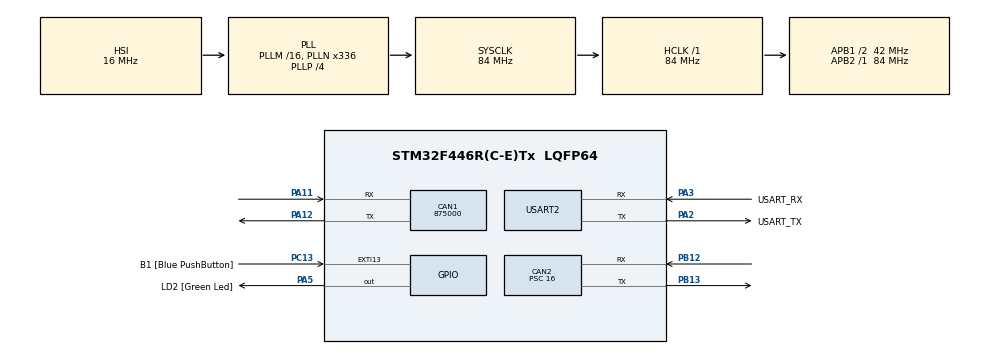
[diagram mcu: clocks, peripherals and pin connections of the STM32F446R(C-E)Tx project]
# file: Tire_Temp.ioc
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CAN1.CalculateBaudRate=875000
CAN1.CalculateTimeBit=1142
CAN1.CalculateTimeQuantum=380.95238095238096
CAN2.CalculateBaudRate=875000
CAN2.CalculateTimeBit=1142
CAN2.CalculateTimeQuantum=380.95238095238096
CAN2.Prescaler=16
Mcu.Family=STM32F4
Mcu.Name=STM32F446R(C-E)Tx
Mcu.Package=LQFP64
NVIC.CAN2_RX0_IRQn=true\:0\:0\:false\:false\:true\:true\:true\:true
NVIC.PriorityGroup=NVIC_PRIORITYGROUP_0
PA11.Mode=CAN_Activate
PA11.Signal=CAN1_RX
PA12.Mode=CAN_Activate
PA12.Signal=CAN1_TX
PA13.GPIO_Label=TMS
PA13.Mode=Serial_Wire
PA13.Signal=SYS_JTMS-SWDIO
PA14.GPIO_Label=TCK
PA14.Mode=Serial_Wire
PA14.Signal=SYS_JTCK-SWCLK
PA2.GPIO_Label=USART_TX
PA2.Mode=Asynchronous
PA2.Signal=USART2_TX
PA3.GPIO_Label=USART_RX
PA3.Mode=Asynchronous
PA3.Signal=USART2_RX
PA5.GPIO_Label=LD2 [Green Led]
PA5.Signal=GPIO_Output
PB12.Mode=CAN_Activate
PB12.Signal=CAN2_RX
PB13.Mode=CAN_Activate
PB13.Signal=CAN2_TX
PB3.GPIO_Label=SWO
PB3.Signal=SYS_JTDO-SWO
PC13.GPIO_Label=B1 [Blue PushButton]
PC13.GPIO_ModeDefaultEXTI=GPIO_MODE_IT_FALLING
PC13.Signal=GPXTI13
PC14-OSC32_IN.Mode=LSE-External-Oscillator
PC14-OSC32_IN.Signal=RCC_OSC32_IN
PC15-OSC32_OUT.Mode=LSE-External-Oscillator
PC15-OSC32_OUT.Signal=RCC_OSC32_OUT
PH0-OSC_IN.Mode=HSE-External-Oscillator
PH0-OSC_IN.Signal=RCC_OSC_IN
PH1-OSC_OUT.Mode=HSE-External-Oscillator
PH1-OSC_OUT.Signal=RCC_OSC_OUT
ProjectManager.HeapSize=0x200
ProjectManager.StackSize=0x400
ProjectManager.TargetToolchain=STM32CubeIDE
RCC.48MHZClocksFreq_Value=84000000
RCC.AHBFreq_Value=84000000
RCC.APB1CLKDivider=RCC_HCLK_DIV2
RCC.APB1Freq_Value=42000000
RCC.APB1TimFreq_Value=84000000
RCC.APB2Freq_Value=84000000
RCC.APB2TimFreq_Value=84000000
RCC.CortexFreq_Value=84000000
RCC.FLatency-AdvancedSettings=FLASH_LATENCY_2
RCC.HCLKFreq_Value=84000000
RCC.HSE_VALUE=8000000
RCC.HSI_VALUE=16000000
RCC.PLLN=336
RCC.PLLP=RCC_PLLP_DIV4
RCC.SYSCLKFreq_VALUE=84000000
RCC.SYSCLKSource=RCC_SYSCLKSOURCE_PLLCLK
RCC.USBFreq_Value=168000000
RCC.VCOOutputFreq_Value=336000000
TIM6.Period=10000 - 1
TIM6.Prescaler=84 - 1
TIM6.TIM_MasterOutputTrigger=TIM_TRGO_RESET
USART2.VirtualMode=VM_ASYNC
VP_TIM6_VS_ClockSourceINT.Mode=Enable_Timer
board=NUCLEO-F446RE

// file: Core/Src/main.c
/* USER CODE BEGIN Header */
/**
  ******************************************************************************
  * @file           : main.c
  * @brief          : Main program body
  ******************************************************************************
  * @attention
  *
  * Copyright (c) 2024 STMicroelectronics.
  * All rights reserved.
  *
  * This software is licensed under terms that can be found in the LICENSE file
  * in the root directory of this software component.
  * If no LICENSE file comes with this software, it is provided AS-IS.
  *
  ******************************************************************************
  */
/* USER CODE END Header */
#include "main.h"

/* USER CODE BEGIN PD */
#define IS_FRONT_NODE 1
#define TIRE_TEMP_BASE_CAN_ID 0x4B0

// Add to FEB_CAN_ID.h
#define FEB_CAN_ID_FRONT_LEFT_TIRE_TEMP 0x1A
#define FEB_CAN_ID_FRONT_RIGHT_TIRE_TEMP 0x1B
#define FEB_CAN_ID_REAR_LEFT_TIRE_TEMP 0x1C
#define FEB_CAN_ID_REAR_RIGHT_TIRE_TEMP 0x1D

/* USER CODE END PD */

CAN_HandleTypeDef hcan1;
CAN_HandleTypeDef hcan2;

TIM_HandleTypeDef htim6;

UART_HandleTypeDef huart2;

/* USER CODE BEGIN PV */

uint16_t tire_temp_left[4];
uint16_t tire_temp_right[4];

/* USER CODE END PV */

void SystemClock_Config(void);
static void MX_GPIO_Init(void);
static void MX_USART2_UART_Init(void);
static void MX_CAN1_Init(void);
static void MX_CAN2_Init(void);
static void MX_TIM6_Init(void);

/* USER CODE BEGIN 0 */

void UART_Transmit(const char *string)
{
	HAL_UART_Transmit(&huart2, (uint8_t*)string, strlen(string), 1000);
}

void CAN_Transmit_Tire_Temp(uint16_t CAN_ID, uint16_t *tire_temp)
{

	// Set up the CAN message
	CAN_TxHeaderTypeDef TxHeader;
	uint8_t TxData[8];
	uint32_t TxMailbox;

	TxHeader.DLC = 8; // Data length
	TxHeader.IDE = CAN_ID_STD;
	TxHeader.RTR = CAN_RTR_DATA; // Data frame
	TxHeader.StdId = CAN_ID; // Current CAN ID of the sensor
	TxHeader.ExtId = 0; // Not used with standard ID

	for (int i = 0; i < 4; i++)
	{
		TxData[i * 2] = (tire_temp[i] >> 8) & 0xFF;
		TxData[i * 2 + 1] = tire_temp[i] & 0xFF;
	}

	if (HAL_CAN_AddTxMessage(&hcan2, &TxHeader, TxData, &TxMailbox) != HAL_OK)
	{
		// Transmission request error
		char msg[50];
		sprintf(msg, "CAN transmit error");
		UART_Transmit(msg);
		Error_Handler();
	}

}

void Configure_Tire_Temp_Sensor(uint16_t currentCAN_ID, uint16_t newCAN_ID, float emissivity,
		uint8_t sampleFrequency, uint8_t channels, uint8_t bitrate)
{
	// Set up the CAN message
	CAN_TxHeaderTypeDef TxHeader;
	uint8_t TxData[8];
	uint32_t TxMailbox;

	TxHeader.DLC = 8; // Data length
	TxHeader.IDE = CAN_ID_STD;
	TxHeader.RTR = CAN_RTR_DATA; // Data frame
	TxHeader.StdId = currentCAN_ID; // Current CAN ID of the sensor
	TxHeader.ExtId = 0; // Not used with standard ID

	// Add the configuration settings
	TxData[0] = 0x75; // Programming Constant MSB
	TxData[1] = 0x30; // Programming Constant LSB
	TxData[2] = (newCAN_ID >> 8) & 0xFF; // New CAN Base ID MSB
	TxData[3] = newCAN_ID & 0xFF; // New CAN Base ID LSB
	TxData[4] = uint8_t (emissivity * 100); // Emissivity (0.01–1.00 scaled to 1–100)
	TxData[5] = sampleFrequency; // Sampling frequency (8=100Hz)
	TxData[6] = channels; // Channels (40=4, 80=8, 160=16)
	TxData[7] = bitrate; // Bit rate (1=1Mbit/s, 2=500kbit/s, 3=250kbit/s, or 4=100kbit/s)

	// Transmit the message at 1Hz for 10 seconds
	for (int i = 0; i < 10; i++)
	{
		if (HAL_CAN_AddTxMessage(&hcan2, &TxHeader, TxData, &TxMailbox) != HAL_OK)
		{
			// Transmission request error
			char msg[50];
			sprintf(msg, "CAN transmit error");
			UART_Transmit(msg);
			Error_Handler();
		}

		HAL_Delay(1000);
	}

}

void Read_Tire_Temp_Data(CAN_RxHeaderTypeDef RxHeader, uint8_t *RxData)
{
	// Calculate the first channel in the message
	uint8_t channelStart = ((RxHeader.ExtId - TIRE_TEMP_BASE_CAN_ID) % 4) * 4 + 1;
	uint16_t average_temp = 0;

	// Calculate the temperature from all four channels and transmit them
	for (int i = 0; i < 4; i++)
	{
		// Get data from one channel and add it to average temp (subtract 1000 to account for the 100 degree celsius offset
		int16_t temp_raw = (RxData[2 * i] << 8) | RxData[2 * i + 1];
		average_temp += temp_raw - 1000;

		// Send data through UART
		float temperature = temp_raw * 0.01 - 100;
		char msg[50];
		sprintf(msg, "Channel %d Temperature: %d C\n", channelStart + i, temperature);
		UART_Transmit(msg);
	}

	average_temp /= 4;
	if (RxHeader.ExtId % 16 < 4 || (RxHeader.ExtId % 16 >= 8 && RxHeader.ExtId % 16 < 12)) // Check if it is the right tire
	{
		tire_temp_right[RxHeader.ExtId % 4] = average_temp >> 8 & 0xFF;
		tire_temp_right[RxHeader.ExtId % 4 + 1] = average_temp & 0xFF;
	}
	else // Check case if it is the left tire
	{
		tire_temp_left[RxHeader.ExtId % 4] = average_temp >> 8 & 0xFF;
		tire_temp_left[RxHeader.ExtId % 4 + 1] = average_temp & 0xFF;
	}

}

void HAL_CAN_RxFifo0MsgPendingCallback(CAN_HandleTypeDef *hcan) {
    CAN_RxHeaderTypeDef RxHeader;
    uint8_t RxData[8];

    // Retrieve the message
    if (HAL_CAN_GetRxMessage(hcan, CAN_RX_FIFO0, &RxHeader, RxData) != HAL_OK) {
    	Error_Handler();
    }

    if ((RxHeader.ExtId >> 4) == (TIRE_TEMP_BASE_CAN_ID >> 4)) // Check if the message is from one of the tire temp sensors
    {
    	Read_Tire_Temp_Data(RxHeader, RxData);
    }
}

void HAL_TIM_PeriodElapsedCallback(TIM_HandleTypeDef *htim)
{
	if (htim->Instance == TIM6)
	{

		if (IS_FRONT_NODE)
		{
			CAN_Transmit_Tire_Temp(FEB_CAN_ID_FRONT_LEFT_TIRE_TEMP, tire_temp_left);
			CAN_Transmit_Tire_Temp(FEB_CAN_ID_FRONT_RIGHT_TIRE_TEMP, tire_temp_right);
		}
		else
		{
			CAN_Transmit_Tire_Temp(FEB_CAN_ID_REAR_LEFT_TIRE_TEMP, tire_temp_left);
			CAN_Transmit_Tire_Temp(FEB_CAN_ID_REAR_RIGHT_TIRE_TEMP, tire_temp_right);
		}

	}
}

/* USER CODE END 0 */

int main(void)
{

  /* MCU Configuration--------------------------------------------------------*/

  /* Reset of all peripherals, Initializes the Flash interface and the Systick. */
  HAL_Init();

  /* Configure the system clock */
  SystemClock_Config();

  /* Initialize all configured peripherals */
  MX_GPIO_Init();
  MX_USART2_UART_Init();
  MX_CAN1_Init();
  MX_CAN2_Init();
  MX_TIM6_Init();
  /* USER CODE BEGIN 2 */

  if (HAL_TIM_Base_Start_IT(&htim6) != HAL_OK)
  {
	  char msg[50];
	  sprintf(msg, "TIM1 fault");
	  transmit_uart(msg);
  }

  // Start CAN
  HAL_CAN_Start(&hcan2);
  if (HAL_CAN_ActivateNotification(&hcan2, CAN_IT_RX_FIFO0_MSG_PENDING) != HAL_OK)
  {
	  Error_Handler();
  }

  // Configure Tire Temp Sensors
  Configure_Tire_Temp_Sensor(0x4B0, 0x4B0, 0.85, 8, 160, 2);
  Configure_Tire_Temp_Sensor(0x4B4, 0x4B4, 0.85, 8, 160, 2);
  Configure_Tire_Temp_Sensor(0x4B8, 0x4B8, 0.85, 8, 160, 2);
  Configure_Tire_Temp_Sensor(0x4BC, 0x4BC, 0.85, 8, 160, 2);

  /* USER CODE END 2 */

  /* Infinite loop */
  while (1)
  {

  }
}

void SystemClock_Config(void)
{
  RCC_OscInitTypeDef RCC_OscInitStruct = {0};
  RCC_ClkInitTypeDef RCC_ClkInitStruct = {0};

  /** Configure the main internal regulator output voltage
  */
  __HAL_RCC_PWR_CLK_ENABLE();
  __HAL_PWR_VOLTAGESCALING_CONFIG(PWR_REGULATOR_VOLTAGE_SCALE3);

  /** Initializes the RCC Oscillators according to the specified parameters
  * in the RCC_OscInitTypeDef structure.
  */
  RCC_OscInitStruct.OscillatorType = RCC_OSCILLATORTYPE_HSI;
  RCC_OscInitStruct.HSIState = RCC_HSI_ON;
  RCC_OscInitStruct.HSICalibrationValue = RCC_HSICALIBRATION_DEFAULT;
  RCC_OscInitStruct.PLL.PLLState = RCC_PLL_ON;
  RCC_OscInitStruct.PLL.PLLSource = RCC_PLLSOURCE_HSI;
  RCC_OscInitStruct.PLL.PLLM = 16;
  RCC_OscInitStruct.PLL.PLLN = 336;
  RCC_OscInitStruct.PLL.PLLP = RCC_PLLP_DIV4;
  RCC_OscInitStruct.PLL.PLLQ = 2;
  RCC_OscInitStruct.PLL.PLLR = 2;
  if (HAL_RCC_OscConfig(&RCC_OscInitStruct) != HAL_OK)
  {
    Error_Handler();
  }

  /** Initializes the CPU, AHB and APB buses clocks
  */
  RCC_ClkInitStruct.ClockType = RCC_CLOCKTYPE_HCLK|RCC_CLOCKTYPE_SYSCLK
                              |RCC_CLOCKTYPE_PCLK1|RCC_CLOCKTYPE_PCLK2;
  RCC_ClkInitStruct.SYSCLKSource = RCC_SYSCLKSOURCE_PLLCLK;
  RCC_ClkInitStruct.AHBCLKDivider = RCC_SYSCLK_DIV1;
  RCC_ClkInitStruct.APB1CLKDivider = RCC_HCLK_DIV2;
  RCC_ClkInitStruct.APB2CLKDivider = RCC_HCLK_DIV1;

  if (HAL_RCC_ClockConfig(&RCC_ClkInitStruct, FLASH_LATENCY_2) != HAL_OK)
  {
    Error_Handler();
  }
}

static void MX_CAN1_Init(void)
{

  hcan1.Instance = CAN1;
  hcan1.Init.Prescaler = 16;
  hcan1.Init.Mode = CAN_MODE_NORMAL;
  hcan1.Init.SyncJumpWidth = CAN_SJW_1TQ;
  hcan1.Init.TimeSeg1 = CAN_BS1_1TQ;
  hcan1.Init.TimeSeg2 = CAN_BS2_1TQ;
  hcan1.Init.TimeTriggeredMode = DISABLE;
  hcan1.Init.AutoBusOff = DISABLE;
  hcan1.Init.AutoWakeUp = DISABLE;
  hcan1.Init.AutoRetransmission = DISABLE;
  hcan1.Init.ReceiveFifoLocked = DISABLE;
  hcan1.Init.TransmitFifoPriority = DISABLE;
  if (HAL_CAN_Init(&hcan1) != HAL_OK)
  {
    Error_Handler();
  }

}

static void MX_CAN2_Init(void)
{

  hcan2.Instance = CAN2;
  hcan2.Init.Prescaler = 16;
  hcan2.Init.Mode = CAN_MODE_NORMAL;
  hcan2.Init.SyncJumpWidth = CAN_SJW_1TQ;
  hcan2.Init.TimeSeg1 = CAN_BS1_1TQ;
  hcan2.Init.TimeSeg2 = CAN_BS2_1TQ;
  hcan2.Init.TimeTriggeredMode = DISABLE;
  hcan2.Init.AutoBusOff = DISABLE;
  hcan2.Init.AutoWakeUp = DISABLE;
  hcan2.Init.AutoRetransmission = DISABLE;
  hcan2.Init.ReceiveFifoLocked = DISABLE;
  hcan2.Init.TransmitFifoPriority = DISABLE;
  if (HAL_CAN_Init(&hcan2) != HAL_OK)
  {
    Error_Handler();
  }

}

static void MX_TIM6_Init(void)
{

  TIM_MasterConfigTypeDef sMasterConfig = {0};

  htim6.Instance = TIM6;
  htim6.Init.Prescaler = 84 - 1;
  htim6.Init.CounterMode = TIM_COUNTERMODE_UP;
  htim6.Init.Period = 10000 - 1;
  htim6.Init.AutoReloadPreload = TIM_AUTORELOAD_PRELOAD_DISABLE;
  if (HAL_TIM_Base_Init(&htim6) != HAL_OK)
  {
    Error_Handler();
  }
  sMasterConfig.MasterOutputTrigger = TIM_TRGO_RESET;
  sMasterConfig.MasterSlaveMode = TIM_MASTERSLAVEMODE_DISABLE;
  if (HAL_TIMEx_MasterConfigSynchronization(&htim6, &sMasterConfig) != HAL_OK)
  {
    Error_Handler();
  }

}

static void MX_USART2_UART_Init(void)
{

  huart2.Instance = USART2;
  huart2.Init.BaudRate = 115200;
  huart2.Init.WordLength = UART_WORDLENGTH_8B;
  huart2.Init.StopBits = UART_STOPBITS_1;
  huart2.Init.Parity = UART_PARITY_NONE;
  huart2.Init.Mode = UART_MODE_TX_RX;
  huart2.Init.HwFlowCtl = UART_HWCONTROL_NONE;
  huart2.Init.OverSampling = UART_OVERSAMPLING_16;
  if (HAL_UART_Init(&huart2) != HAL_OK)
  {
    Error_Handler();
  }

}

static void MX_GPIO_Init(void)
{
  GPIO_InitTypeDef GPIO_InitStruct = {0};

  /* GPIO Ports Clock Enable */
  __HAL_RCC_GPIOC_CLK_ENABLE();
  __HAL_RCC_GPIOH_CLK_ENABLE();
  __HAL_RCC_GPIOA_CLK_ENABLE();
  __HAL_RCC_GPIOB_CLK_ENABLE();

  /*Configure GPIO pin Output Level */
  HAL_GPIO_WritePin(LD2_GPIO_Port, LD2_Pin, GPIO_PIN_RESET);

  /*Configure GPIO pin : B1_Pin */
  GPIO_InitStruct.Pin = B1_Pin;
  GPIO_InitStruct.Mode = GPIO_MODE_IT_FALLING;
  GPIO_InitStruct.Pull = GPIO_NOPULL;
  HAL_GPIO_Init(B1_GPIO_Port, &GPIO_InitStruct);

  /*Configure GPIO pin : LD2_Pin */
  GPIO_InitStruct.Pin = LD2_Pin;
  GPIO_InitStruct.Mode = GPIO_MODE_OUTPUT_PP;
  GPIO_InitStruct.Pull = GPIO_NOPULL;
  GPIO_InitStruct.Speed = GPIO_SPEED_FREQ_LOW;
  HAL_GPIO_Init(LD2_GPIO_Port, &GPIO_InitStruct);

}

void Error_Handler(void)
{
  __disable_irq();
  while (1)
  {
  }
}
